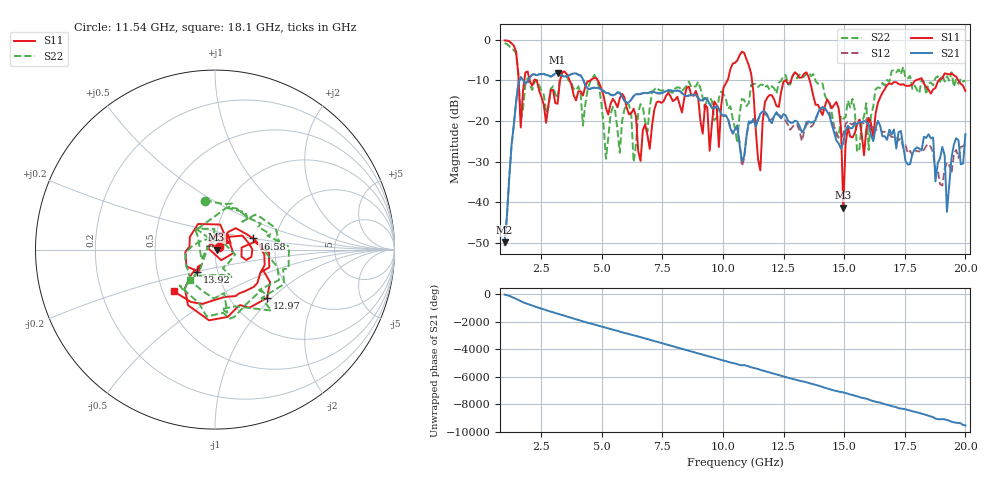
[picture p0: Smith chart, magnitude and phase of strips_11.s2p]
!Agilent Technologies,N5230A,MY45001629,A.07.50.67
!Agilent N5230A: A.07.50.67
!Date: Monday, June 05, 2017 16:29:34
!Correction: S11(Full 2 Port(1,2))
!S21(Full 2 Port(1,2))
!S12(Full 2 Port(1,2))
!S22(Full 2 Port(1,2))
!S2P File: Measurements: S11, S21, S12, S22:
# Hz S  dB  R 50
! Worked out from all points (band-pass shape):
!   201 points, 1 GHz to 20 GHz, reference 50 ohm
!   highest |S21| = -8.13 dB at 3.185 GHz (marker M1); lowest = -49.8 dB at 1 GHz (marker M2)
!   |S21| within 3 dB of the highest: 1.561 GHz to 4.322 GHz (2.762 GHz wide, 93.9 % of centre)
!   lowest |S11| = -41.3 dB at 14.96 GHz (marker M3), VSWR 1.02, Z = 50.9 - j0.0643 ohm
!   |S11| at or under -10 dB: 4.84 GHz to 10.19 GHz (5.351 GHz wide, 71.2 % of centre); 11.2 GHz to 12.58 GHz (1.38 GHz wide, 11.6 % of centre); 13.58 GHz to 17.96 GHz (4.385 GHz wide, 27.8 % of centre)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
!   |S22| runs from -30.1 to -0.9 dB; largest |S21 - S12| = 0.033
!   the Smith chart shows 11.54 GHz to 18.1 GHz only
!   S11 on the Smith chart (normalised r, x): 11.54 GHz: 1.04, +0.03; 12.97 GHz: 1.46, -0.93; 13.92 GHz: 0.80, -0.20; 16.58 GHz: 1.53, +0.20; 18.1 GHz: 0.57, -0.30
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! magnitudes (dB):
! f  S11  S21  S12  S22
! 1 GHz  -0.2  -49.8  -50.7  -0.9
! 1.57 GHz  -8.9  -10.7  -10.7  -8.6
! 3.185 GHz  -15.8  -8.1  -8.1  -14.4
! 4.23 GHz  -13.7  -9.7  -9.7  -21.1
! 6.605 GHz  -29.8  -13.3  -13.4  -15.9
! 7.365 GHz  -15.2  -13.2  -13.3  -12.4
! 9.835 GHz  -26.4  -17.0  -17.0  -14.4
! 10.5 GHz  -5.7  -22.0  -22.5  -21.9
! 11.16 GHz  -8.3  -20.5  -20.1  -11.1
! 11.54 GHz  -32.1  -18.2  -18.8  -11.1
! 12.97 GHz  -8.1  -19.9  -20.8  -8.1
! 13.73 GHz  -13.9  -20.2  -20.9  -8.5
! 13.92 GHz  -16.0  -18.0  -18.2  -10.8
! 14.78 GHz  -16.9  -25.5  -24.2  -23.9
! 14.96 GHz  -41.3  -25.3  -23.2  -19.4
! 15.15 GHz  -21.5  -21.2  -20.0  -15.0
! 16.01 GHz  -19.2  -20.9  -20.0  -27.1
! 16.58 GHz  -13.0  -23.8  -22.7  -10.6
! 16.86 GHz  -10.8  -22.1  -23.3  -10.4
! 18.1 GHz  -9.7  -26.8  -27.5  -13.2
! 19.24 GHz  -8.4  -42.3  -30.2  -9.0
! 20 GHz  -12.6  -23.2  -25.6  -10.1
